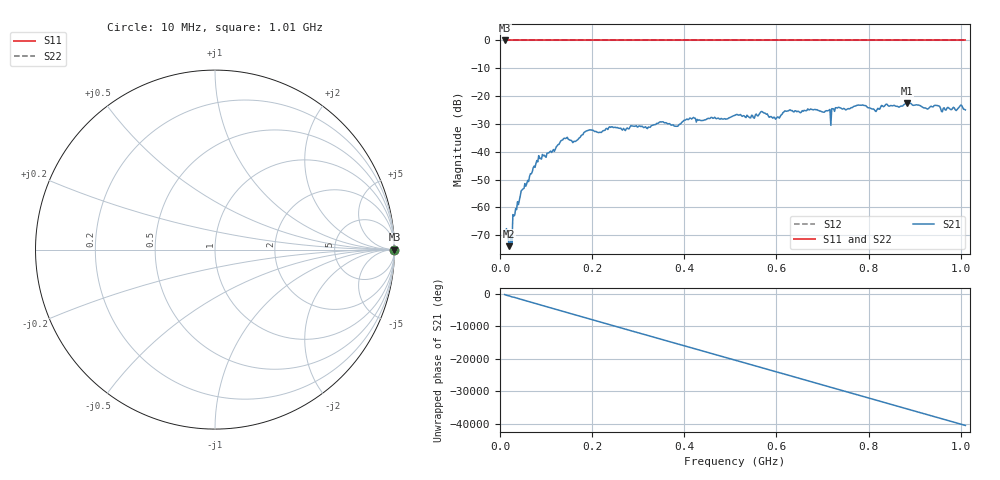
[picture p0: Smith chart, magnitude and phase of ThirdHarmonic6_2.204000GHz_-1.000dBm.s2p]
! 8/17/2025 2:16:06 AM
! C:\ANRITSUVNA\TEMP\TEMP.S2P
! CHANNEL.1
! TR.MEASUREMENT
! RAW.DATA
! RF.CORRECTION.OFF
! AVERAGING.OFF
! IF.BANDWIDTH: 5KHZ
! SWEEPTYPE:  FREQ.SWEEP(Linear)
! Reference Plane Port Info
! PORT:  PORT1  PORT2
! DISTANCE:  0  m  0  m
! TIME:  0  s  0  s
! PHASE.OFFSET:  0  deg.  0  deg.
! LOSS:  0  dB  0  dB
! REF.LOSS:  0  dB  0  dB
! REF.FREQ:  0  Hz  0  Hz
! Power Info
! POWER:  -20  dBm  -20  dBm
! EFF.POWER:  -20  dBm  -20  dBm
! SOURCE.ATTEN:  0  dB  0  dB
! TEST.ATTEN:  0  dB  0  dB
# GHZ S RI R 50.0
! FREQ.GHZ  S11RE  S11IM  S21RE  S21IM  S12RE  S12IM  S22RE  S22IM
!; PortSelection: Port_12
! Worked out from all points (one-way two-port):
!   501 points, 10 MHz to 1.01 GHz, reference 50 ohm
!   highest |S21| = -22.47 dB at 884 MHz (marker M1); lowest = -74.0 dB at 20 MHz (marker M2)
!   lowest |S11| = 0.0 dB at 10 MHz (marker M3)
!   |S11| at or under -10 dB: nowhere
!   |S22| runs from 0.0 to 0.0 dB; largest |S21 - S12| = 1.1
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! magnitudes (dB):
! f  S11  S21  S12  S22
! 10 MHz  0.0  -69.5  0.0  0.0
! 20 MHz  0.0  -74.0  0.0  0.0
! 22 MHz  0.0  -73.1  0.0  0.0
! 32 MHz  0.0  -62.8  0.0  0.0
! 46 MHz  0.0  -54.1  0.0  0.0
! 82 MHz  0.0  -43.6  0.0  0.0
! 136 MHz  0.0  -35.8  0.0  0.0
! 162 MHz  0.0  -36.3  0.0  0.0
! 178 MHz  0.0  -34.0  0.0  0.0
! 344 MHz  0.0  -29.7  0.0  0.0
! 382 MHz  0.0  -30.9  0.0  0.0
! 416 MHz  0.0  -28.2  0.0  0.0
! 510 MHz  0.0  -26.9  0.0  0.0
! 570 MHz  0.0  -25.7  0.0  0.0
! 602 MHz  0.0  -27.5  0.0  0.0
! 622 MHz  0.0  -25.5  0.0  0.0
! 678 MHz  0.0  -24.9  0.0  0.0
! 714 MHz  0.0  -25.1  0.0  0.0
! 732 MHz  0.0  -24.3  0.0  0.0
! 844 MHz  0.0  -23.6  0.0  0.0
! 884 MHz  0.0  -22.5  0.0  0.0
! 1.01 GHz  0.0  -25.0  0.0  0.0
